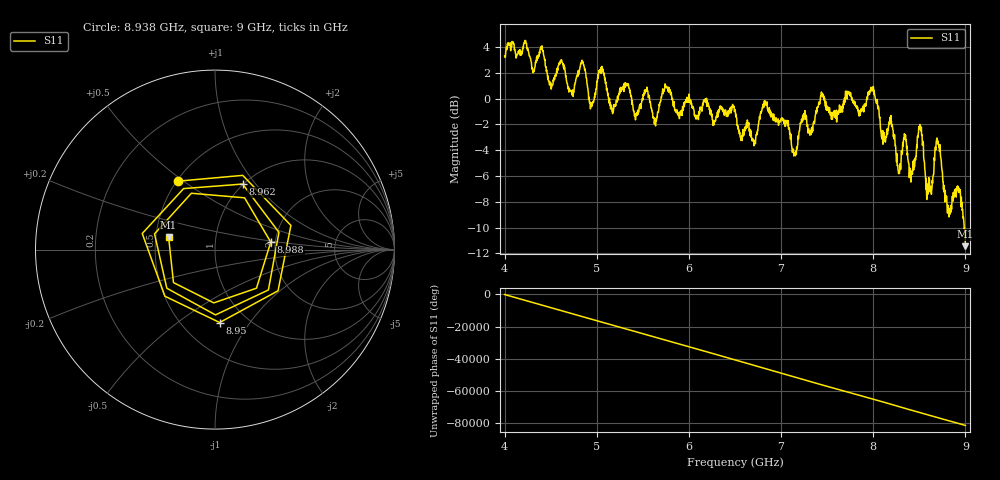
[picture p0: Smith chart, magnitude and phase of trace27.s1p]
! Created with skrf 1.8.0 (http://scikit-rf.org).
# Hz S RI R 50.0
!freq ReS11 ImS11
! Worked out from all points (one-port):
!   1601 points, 4 GHz to 9 GHz, reference 50 ohm
!   lowest |S11| = -11.4 dB at 9 GHz (marker M1), VSWR 1.73, Z = 29.2 + j4.46 ohm
!   |S11| at or under -10 dB: 8.987387 GHz to end of sweep
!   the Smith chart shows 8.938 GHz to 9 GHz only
!   S11 on the Smith chart (normalised r, x): 8.938 GHz: 0.51, +0.48; 8.95 GHz: 0.75, -0.73; 8.962 GHz: 0.99, +0.86; 8.988 GHz: 1.89, +0.18; 9 GHz: 0.58, +0.09
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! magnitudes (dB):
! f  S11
! 4 GHz  3.3
! 4.625 GHz  2.8
! 4.728 GHz  0.4
! 4.85 GHz  2.8
! 4.944 GHz  -0.6
! 5.044 GHz  2.0
! 5.159 GHz  -0.5
! 5.25 GHz  0.7
! 5.875 GHz  -1.2
! 6.5 GHz  -0.9
! 6.703 GHz  -3.2
! 6.828 GHz  -0.2
! 7.125 GHz  -4.1
! 7.441 GHz  0.3
! 7.75 GHz  0.2
! 7.994 GHz  0.6
! 8.275 GHz  -5.8
! 8.375 GHz  -4.7
! 8.425 GHz  -5.9
! 8.506 GHz  -2.0
! 8.594 GHz  -7.4
! 8.7 GHz  -3.3
! 8.809 GHz  -8.2
! 8.938 GHz  -7.3
! 8.95 GHz  -7.8
! 8.962 GHz  -8.0
! 8.988 GHz  -10.1
! 9 GHz  -11.4
